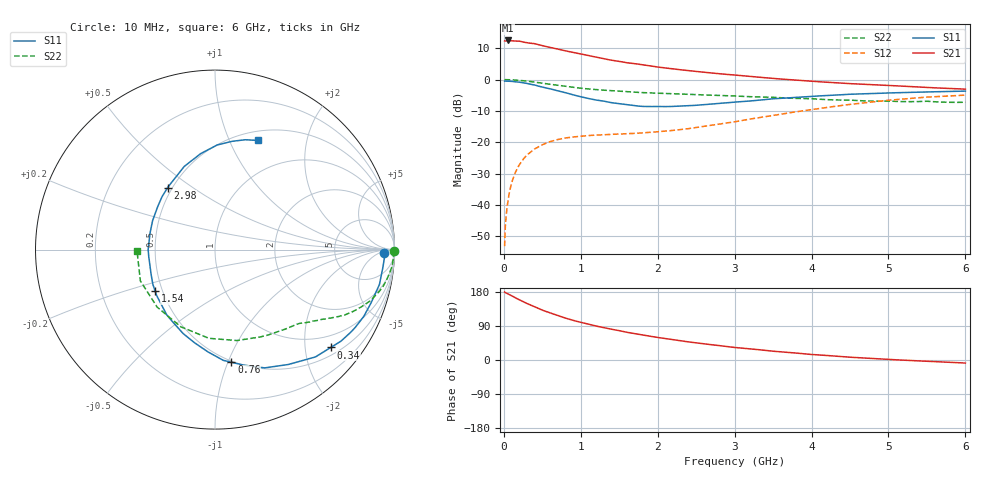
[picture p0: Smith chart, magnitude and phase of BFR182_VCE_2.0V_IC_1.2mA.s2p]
! Infineon Technologies  Discrete & RF Semiconductors
! BFR182
! VCE =  2.0 V,  IC =  1.2 mA
! Common Emitter S-Parameters:  Nov 2015
# GHz  S  MA  R  50
!  f  S11  S21  S12  S22
! GHz  MAG  ANG  MAG  ANG  MAG  ANG  MAG  ANG
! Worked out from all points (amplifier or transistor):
!   210 points, 10 MHz to 6 GHz, reference 50 ohm
!   highest |S21| = 12.5 dB at 50 MHz (marker M1)
!   |S21| within 3 dB of that: start of sweep to 745.4 MHz
!   unconditionally stable (mu >= 1): 1.678 GHz to 3.246 GHz
!   at 185 MHz: K = 0.13, MSG = 20.1 dB, |S12| = -27.9 dB
!   at 1.52 GHz: K = 0.92, MSG = 11.5 dB, |S12| = -17.4 dB
!   at 6 GHz: K = 0.94, MSG = 0.9 dB, |S12| = -5.0 dB
!   S11 on the Smith chart (normalised r, x): 10 MHz: 31, -11; 340 MHz: 0.68, -2.58; 760 MHz: 0.49, -1.03; 1.54 GHz: 0.46, -0.25; 2.98 GHz: 0.47, +0.40; 6 GHz: 0.60, +1.29
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0.01  0.9442 -1.2  4.14 179.3  0.0022 85.8  0.998 -0.5
0.02  0.9454 -2.5  4.104 177.9  0.0046 87.1  0.995 -1.1
0.05  0.9409 -5.9  4.203 174.9  0.0108 84.6  0.9949 -2.6
0.095  0.9365 -11.4  4.161 170.5  0.021 82.8  0.9924 -4.8
0.15  0.9203 -18.3  4.112 163.9  0.033 79.2  0.9818 -7.6
0.2  0.9087 -24.2  4.101 159.1  0.0434 75.6  0.9717 -9.9
0.34  0.8446 -40.2  3.805 145.8  0.0686 66.1  0.9313 -15.8
0.4  0.819 -46.9  3.737 140.5  0.0782 62.6  0.9118 -18.2
0.5  0.7592 -57.5  3.481 131.4  0.0911 57.9  0.8744 -21.5
0.64  0.6918 -70.6  3.175 121.5  0.1055 51.7  0.8285 -25.2
0.76  0.6341 -81.7  2.947 113.4  0.1143 47.8  0.7922 -27.8
0.9  0.5714 -93.9  2.716 104.4  0.1215 44.6  0.7519 -30.4
1.02  0.5242 -104.0  2.524 98.3  0.1251 42.4  0.7235 -32.3
1.2  0.4715 -118.8  2.27 89.5  0.1302 40.3  0.6914 -34.9
1.54  0.4058 -145.2  1.913 75.7  0.1357 40.0  0.6481 -38.9
2.02  0.3716 178.6  1.573 58.9  0.1478 45.2  0.6051 -45.0
2.4  0.3832 155.2  1.386 47.7  0.1649 50.3  0.581 -51.1
2.98  0.4342 127.5  1.186 33.6  0.2101 54.9  0.5479 -62.6
3.1  0.4449 123.1  1.151 31.3  0.2229 55.0  0.5393 -65.6
4.1  0.5481 96.4  0.922 13.3  0.3456 50.3  0.4858 -97.7
5.1  0.6154 79.6  0.794 0.5  0.4784 36.5  0.4483 -139.5
6  0.6541 68.4  0.703 -8.0  0.5651 20.8  0.4344 -178.8
